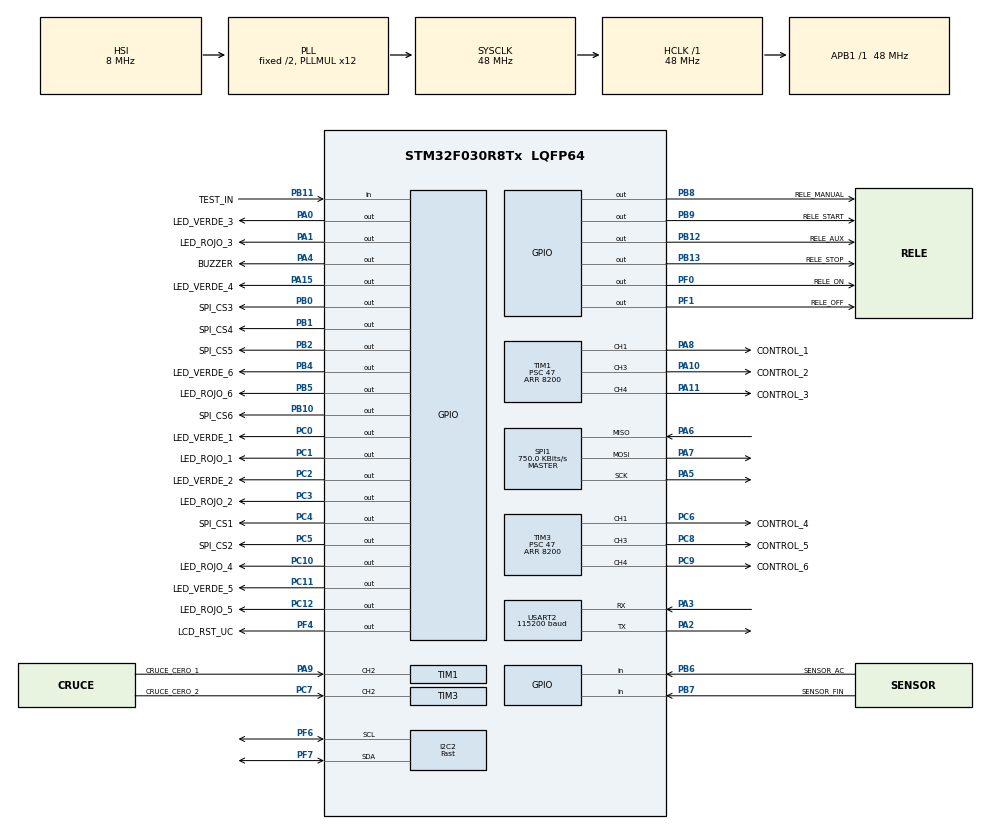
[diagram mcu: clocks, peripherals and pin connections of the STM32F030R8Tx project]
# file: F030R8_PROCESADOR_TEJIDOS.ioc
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I2C2.Analog_Filter=I2C_ANALOGFILTER_DISABLE
I2C2.I2C_Fall_Time=100
I2C2.I2C_Rise_Time=100
I2C2.I2C_Speed_Mode=I2C_Fast
I2C2.OwnAddress=104
I2C2.Timing=0x00901A4E
Mcu.Family=STM32F0
Mcu.Name=STM32F030R8Tx
Mcu.Package=LQFP64
NVIC.TIM17_IRQn=true\:0\:0\:false\:false\:true\:true\:true\:true
NVIC.TIM6_IRQn=true\:0\:0\:false\:false\:true\:true\:true\:true
NVIC.USART2_IRQn=true\:0\:0\:false\:false\:true\:true\:true\:true
PA0.GPIO_Label=LED_VERDE_3
PA0.Signal=GPIO_Output
PA1.GPIO_Label=LED_ROJO_3
PA1.Signal=GPIO_Output
PA10.GPIO_Label=CONTROL_2
PA10.Signal=S_TIM1_CH3
PA11.GPIO_Label=CONTROL_3
PA11.Signal=S_TIM1_CH4
PA13.Mode=Serial_Wire
PA13.Signal=SYS_SWDIO
PA14.Mode=Serial_Wire
PA14.Signal=SYS_SWCLK
PA15.GPIO_Label=LED_VERDE_4
PA15.Signal=GPIO_Output
PA2.Mode=Asynchronous
PA2.Signal=USART2_TX
PA3.Mode=Asynchronous
PA3.Signal=USART2_RX
PA4.GPIO_Label=BUZZER
PA4.Signal=GPIO_Output
PA5.Mode=Full_Duplex_Master
PA5.Signal=SPI1_SCK
PA6.Mode=Full_Duplex_Master
PA6.Signal=SPI1_MISO
PA7.Mode=Full_Duplex_Master
PA7.Signal=SPI1_MOSI
PA8.GPIO_Label=CONTROL_1
PA8.Signal=S_TIM1_CH1
PA9.GPIO_Label=CRUCE_CERO_1
PA9.Signal=S_TIM1_CH2
PB0.GPIO_Label=SPI_CS3
PB0.Signal=GPIO_Output
PB1.GPIO_Label=SPI_CS4
PB1.Signal=GPIO_Output
PB10.GPIO_Label=SPI_CS6
PB10.Signal=GPIO_Output
PB11.GPIO_Label=TEST_IN
PB11.Signal=GPIO_Input
PB12.GPIO_Label=RELE_AUX
PB12.Signal=GPIO_Output
PB13.GPIO_Label=RELE_STOP
PB13.Signal=GPIO_Output
PB2.GPIO_Label=SPI_CS5
PB2.Signal=GPIO_Output
PB4.GPIO_Label=LED_VERDE_6
PB4.Signal=GPIO_Output
PB5.GPIO_Label=LED_ROJO_6
PB5.Signal=GPIO_Output
PB6.GPIO_Label=SENSOR_AC
PB6.Signal=GPIO_Input
PB7.GPIO_Label=SENSOR_FIN
PB7.Signal=GPIO_Input
PB8.GPIO_Label=RELE_MANUAL
PB8.Signal=GPIO_Output
PB9.GPIO_Label=RELE_START
PB9.Signal=GPIO_Output
PC0.GPIO_Label=LED_VERDE_1
PC0.Signal=GPIO_Output
PC1.GPIO_Label=LED_ROJO_1
PC1.Signal=GPIO_Output
PC10.GPIO_Label=LED_ROJO_4
PC10.Signal=GPIO_Output
PC11.GPIO_Label=LED_VERDE_5
PC11.Signal=GPIO_Output
PC12.GPIO_Label=LED_ROJO_5
PC12.Signal=GPIO_Output
PC2.GPIO_Label=LED_VERDE_2
PC2.Signal=GPIO_Output
PC3.GPIO_Label=LED_ROJO_2
PC3.Signal=GPIO_Output
PC4.GPIO_Label=SPI_CS1
PC4.Signal=GPIO_Output
PC5.GPIO_Label=SPI_CS2
PC5.Signal=GPIO_Output
PC6.GPIO_Label=CONTROL_4
PC6.Signal=S_TIM3_CH1
PC7.GPIO_Label=CRUCE_CERO_2
PC7.Signal=S_TIM3_CH2
PC8.GPIO_Label=CONTROL_5
PC8.Signal=S_TIM3_CH3
PC9.GPIO_Label=CONTROL_6
PC9.Signal=S_TIM3_CH4
PF0-OSC_IN.GPIO_Label=RELE_ON
PF0-OSC_IN.Signal=GPIO_Output
PF1-OSC_OUT.GPIO_Label=RELE_OFF
PF1-OSC_OUT.Signal=GPIO_Output
PF4.GPIO_Label=LCD_RST_UC
PF4.Signal=GPIO_Output
PF6.GPIO_Pu=GPIO_NOPULL
PF6.Mode=I2C
PF6.Signal=I2C2_SCL
PF7.GPIO_Pu=GPIO_NOPULL
PF7.Mode=I2C
PF7.Signal=I2C2_SDA
ProjectManager.HeapSize=0x200
ProjectManager.StackSize=0x400
ProjectManager.TargetToolchain=STM32CubeIDE
RCC.AHBFreq_Value=48000000
RCC.APB1Freq_Value=48000000
RCC.APB1TimFreq_Value=48000000
RCC.HCLKFreq_Value=48000000
RCC.PLLMUL=RCC_PLL_MUL12
RCC.SYSCLKFreq_VALUE=48000000
RCC.SYSCLKSource=RCC_SYSCLKSOURCE_PLLCLK
SH.S_TIM1_CH1.0=TIM1_CH1,PWM Generation1 CH1
SH.S_TIM1_CH2.0=TIM1_CH2,TriggerSource_TI2FP2
SH.S_TIM1_CH3.0=TIM1_CH3,PWM Generation3 CH3
SH.S_TIM1_CH4.0=TIM1_CH4,PWM Generation4 CH4
SH.S_TIM3_CH1.0=TIM3_CH1,PWM Generation1 CH1
SH.S_TIM3_CH2.0=TIM3_CH2,TriggerSource_TI2FP2
SH.S_TIM3_CH3.0=TIM3_CH3,PWM Generation3 CH3
SH.S_TIM3_CH4.0=TIM3_CH4,PWM Generation4 CH4
SPI1.BaudRatePrescaler=SPI_BAUDRATEPRESCALER_64
SPI1.CLKPhase=SPI_PHASE_2EDGE
SPI1.CLKPolarity=SPI_POLARITY_HIGH
SPI1.CalculateBaudRate=750.0 KBits/s
SPI1.DataSize=SPI_DATASIZE_8BIT
SPI1.Direction=SPI_DIRECTION_2LINES
SPI1.Mode=SPI_MODE_MASTER
SPI1.VirtualType=VM_MASTER
TIM1.AutoReloadPreload=TIM_AUTORELOAD_PRELOAD_ENABLE
TIM1.Channel-PWM\ Generation1\ CH1=TIM_CHANNEL_1
TIM1.Channel-PWM\ Generation3\ CH3=TIM_CHANNEL_3
TIM1.Channel-PWM\ Generation4\ CH4=TIM_CHANNEL_4
TIM1.OCMode_PWM-PWM\ Generation1\ CH1=TIM_OCMODE_PWM2
TIM1.OCMode_PWM-PWM\ Generation3\ CH3=TIM_OCMODE_PWM2
TIM1.OCMode_PWM-PWM\ Generation4\ CH4=TIM_OCMODE_PWM2
TIM1.Period=8200
TIM1.Prescaler=47
TIM1.Pulse-PWM\ Generation1\ CH1=1
TIM1.Pulse-PWM\ Generation3\ CH3=1
TIM1.Pulse-PWM\ Generation4\ CH4=1
TIM17.Period=999
TIM17.Prescaler=47999
TIM3.AutoReloadPreload=TIM_AUTORELOAD_PRELOAD_ENABLE
TIM3.Channel-PWM\ Generation1\ CH1=TIM_CHANNEL_1
TIM3.Channel-PWM\ Generation3\ CH3=TIM_CHANNEL_3
TIM3.Channel-PWM\ Generation4\ CH4=TIM_CHANNEL_4
TIM3.OCMode_PWM-PWM\ Generation1\ CH1=TIM_OCMODE_PWM2
TIM3.OCMode_PWM-PWM\ Generation3\ CH3=TIM_OCMODE_PWM2
TIM3.OCMode_PWM-PWM\ Generation4\ CH4=TIM_OCMODE_PWM2
TIM3.Period=8200
TIM3.Prescaler=47
TIM3.Pulse-PWM\ Generation1\ CH1=1
TIM3.Pulse-PWM\ Generation3\ CH3=1
TIM3.Pulse-PWM\ Generation4\ CH4=1
TIM3.TIM_MasterSlaveMode=TIM_MASTERSLAVEMODE_DISABLE
TIM6.Period=59999
TIM6.Prescaler=47999
USART2.BaudRate=115200
USART2.VirtualMode-Asynchronous=VM_ASYNC
VP_RTC_VS_RTC_Activate.Mode=RTC_Enabled
VP_TIM17_VS_ClockSourceINT.Mode=Enable_Timer
VP_TIM1_VS_ClockSourceINT.Mode=Internal
VP_TIM1_VS_ControllerModeTrigger.Mode=Trigger Mode
VP_TIM1_VS_OPM.Mode=OPM_bit
VP_TIM3_VS_ClockSourceINT.Mode=Internal
VP_TIM3_VS_ControllerModeTrigger.Mode=Trigger Mode
VP_TIM3_VS_OPM.Mode=OPM_bit
VP_TIM6_VS_ClockSourceINT.Mode=Enable_Timer
board=F030R8_CENTRAL_INCLUSION_V0

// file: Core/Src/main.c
/* USER CODE BEGIN Header */
/**
  ******************************************************************************
  * @file           : main.c
  * @brief          : Main program body
  ******************************************************************************
  * @attention
  *
  * Copyright (c) 2024 STMicroelectronics.
  * All rights reserved.
  *
  * This software is licensed under terms that can be found in the LICENSE file
  * in the root directory of this software component.
  * If no LICENSE file comes with this software, it is provided AS-IS.
  *
  ******************************************************************************
  */
/* USER CODE END Header */
#include "main.h"
#include "i2c.h"
#include "rtc.h"
#include "spi.h"
#include "tim.h"
#include "usart.h"
#include "gpio.h"

/* USER CODE BEGIN Includes */
#include "string.h"
#include "stdlib.h"
#include "USR_NEXTION.h"
#include "USR_RTC.h"
#include "USR_FLASH.h"
#include "USR_TIM.h"
#include "USR_PROCESADOR.h"
#include "USR_TEMPERATURA.h"

/* USER CODE END Includes */

void SystemClock_Config(void);
/* USER CODE BEGIN PFP */
#if USR_TEST_TERMOCUPLAS == 1

uint8_t contador = 0;
uint8_t texto_temperatura[30];

#endif
/* USER CODE END PFP */

int main(void)
{

  /* MCU Configuration--------------------------------------------------------*/

  /* Reset of all peripherals, Initializes the Flash interface and the Systick. */
  HAL_Init();

  /* Configure the system clock */
  SystemClock_Config();

  /* Initialize all configured peripherals */
  MX_GPIO_Init();
  MX_USART2_UART_Init();
  MX_SPI1_Init();
  MX_TIM1_Init();
  MX_TIM3_Init();
  MX_I2C2_Init();
  MX_RTC_Init();
  MX_TIM6_Init();
  MX_TIM17_Init();
  /* USER CODE BEGIN 2 */

  //SE LEEN LAS MEMORIAS, SE VERIFICAN QUE ESTEN BIEN CONFIGURADAS Y SI NO, SE REINICIAN!!!
	USR_FLASH_Leer_Programa(1);
	if(USR_FLASH_Obtener_Dato_Trama(USR_PROCESADOR_POSICION_COMANDO) != USR_NEXTION_COMANDO_GUARDAR_PROGRAMA)
	{
	  USR_FLASH_Reiniciar_Programas();
	}

	USR_FLASH_Leer_Termocuplas();
	if(USR_FLASH_Obtener_Dato_Trama(USR_PROCESADOR_POSICION_COMANDO) != USR_NEXTION_COMANDO_GUARDAR_TERMOCUPLAS)
	{
	  USR_FLASH_Reiniciar_Termocuplas();
	}

	USR_FLASH_Leer_Estado_Actual();
	if(USR_FLASH_Obtener_Dato_Trama_Estado_Actual(USR_PROCESADOR_POSICION_COMANDO) != USR_NEXTION_COMANDO_GUARDAR_PROGRAMA)
	{
	  USR_FLASH_Reiniciar_Estado_Actual();
	}

	//Se inician los led apagados
	USR_TEMPERATURA_Cambio_Led(USR_TEMPERATURA_LED_1, USR_TEMPERATURA_ESTADO_LED_APAGADO);
	USR_TEMPERATURA_Cambio_Led(USR_TEMPERATURA_LED_2, USR_TEMPERATURA_ESTADO_LED_APAGADO);
	USR_TEMPERATURA_Cambio_Led(USR_TEMPERATURA_LED_3, USR_TEMPERATURA_ESTADO_LED_APAGADO);
	USR_TEMPERATURA_Cambio_Led(USR_TEMPERATURA_LED_4, USR_TEMPERATURA_ESTADO_LED_APAGADO);
	USR_TEMPERATURA_Cambio_Led(USR_TEMPERATURA_LED_5, USR_TEMPERATURA_ESTADO_LED_APAGADO);
	USR_TEMPERATURA_Cambio_Led(USR_TEMPERATURA_LED_6, USR_TEMPERATURA_ESTADO_LED_APAGADO);

	//Se apage el pin del buzzer
	USR_PROCESADOR_BUZZER_OFF();

	//Los pines de los reles inician activos...
	USR_PROCESADOR_RELE_START_ACTIVO();
	USR_PROCESADOR_RELE_MANUAL_ACTIVO();

	//Se inactiva la salida AC de la tarjeta...
	USR_PROCESADOR_ReleAC(USR_PROCESADOR_RELEAC_INACTIVO);

	//Se inician las termocuplas...
	#if USR_TEST_SIN_CONTROL == 0

	USR_TEMPERATURA_Iniciar_Chips();
	if(usr_temperatura_estado_alerta == USR_TEMPERATURA_ALERTA_ACTIVA)
	{
	  USR_NEXTION_Cambiar_Pantalla(USR_NEXTION_PANTALLA_ALERTA);
	}

	#endif

	//Se hace un retardo de 3 segundos para dejar que se encienda la pantalla
	HAL_Delay(3000);

	//Se revisa si hay un programa activo
	USR_FLASH_Leer_Estado_Actual();
	if((USR_FLASH_Obtener_Dato_Trama_Estado_Actual(USR_PROCESADOR_POSICION_ESTADO_ACTUAL) == USR_PROCESADOR_ESTADO_EJECUTANDO) || (USR_FLASH_Obtener_Dato_Trama_Estado_Actual(USR_PROCESADOR_POSICION_ESTADO_ACTUAL) == USR_PROCESADOR_ESTADO_ROTANDO))
	{
	  USR_PROCESADOR_Retomar_Programa_Actual();
	  //Se reinicia el periferico I2C porque se bloquea despues de retomar el programa
	  MX_I2C2_Init();

	}
	else
	{
	  USR_NEXTION_Enviar_Trama(usr_nextion_com_vison_b0, (uint16_t)strlen((const char *)usr_nextion_com_vison_b0));
	  //Se crea una trama de estado actual para evitar errores en los cambios de la misma
	  USR_FLASH_Iniciar_Trama_Estado_Actual();
	}
	HAL_Delay(50);

	USR_NEXTION_Iniciar_Recibir_Trama();
	//Se inicia el control de temperatura...
	USR_TEMPERATURA_Iniciar_Control();
	//Se inicia el conteo del minuto
	USR_TIM_Iniciar_Conteo_1minuto();

	USR_PROCESADOR_Buzzer();

  /* USER CODE END 2 */

  /* Infinite loop */
  while (1)
  {

    /* USER CODE BEGIN 3 */

#if USR_TEST_TERMOCUPLAS == 0

	//Rutina principal de maquina de estados...
	USR_NEXTION_Administrador();
	if(usr_procesador_estado_actual == USR_PROCESADOR_ESTADO_EJECUTANDO)
	{
		USR_PROCESADOR_Ejecutar_Programa();

	}
#if USR_TEST_SIN_CONTROL == 0
	if(usr_tim_estado_control_temperatura == USR_TIM_BANDERA_CONTROL_TEMPERATURA_CAMBIO)
	{
		USR_NEXTION_Inhabilitar_Touch_Pantalla();
		USR_TEMPERATURA_Control();
		if(usr_temperatura_estado_alerta == USR_TEMPERATURA_ALERTA_ACTIVA)
	    {
			USR_NEXTION_Cambiar_Pantalla(USR_NEXTION_PANTALLA_ALERTA);
		}
		USR_NEXTION_Verificar_Temperatura();
		USR_NEXTION_Habilitar_Touch_Pantalla();
	}
#endif

#endif

#if USR_TEST_TERMOCUPLAS == 1

	for(contador = 0; contador < USR_TEMPERATURA_CANTIDAD_TERMOCUPLAS; contador++)
	{
	  USR_TEMPERATURA_Leer_Temperatura(&arreglo_termocuplas[contador]);

	  if(arreglo_termocuplas[contador].estado_termocupla == USR_TEMPERATURA_ESTADO_TERMOCUPLA_OK)
	  {
		  sprintf((char *)texto_temperatura, "Temp. Termocupla %d: %d\n", arreglo_termocuplas[contador].numero_termocupla+1,arreglo_termocuplas[contador].temperatura_actual);
		  HAL_UART_Transmit(&huart2, texto_temperatura, strlen((char *)texto_temperatura), 50);
	  }
	  else if (arreglo_termocuplas[contador].estado_termocupla == USR_TEMPERATURA_ESTADO_TERMOCUPLA_ABIERTA)
	  {
		  sprintf((char *)texto_temperatura, "Termocupla %d abierta...\n", arreglo_termocuplas[contador].numero_termocupla+1);
		  HAL_UART_Transmit(&huart2, texto_temperatura, strlen((char *)texto_temperatura), 50);
	  }
	  else
	  {
		  sprintf((char *)texto_temperatura, "Termocupla %d en error...\n", arreglo_termocuplas[contador].numero_termocupla+1);
		  HAL_UART_Transmit(&huart2, texto_temperatura, strlen((char *)texto_temperatura), 50);
	  }

	}
	HAL_Delay(1000);
#endif

  }
  /* USER CODE END 3 */
}

void SystemClock_Config(void)
{
  RCC_OscInitTypeDef RCC_OscInitStruct = {0};
  RCC_ClkInitTypeDef RCC_ClkInitStruct = {0};
  RCC_PeriphCLKInitTypeDef PeriphClkInit = {0};

  /** Initializes the RCC Oscillators according to the specified parameters
  * in the RCC_OscInitTypeDef structure.
  */
  RCC_OscInitStruct.OscillatorType = RCC_OSCILLATORTYPE_HSI|RCC_OSCILLATORTYPE_LSI;
  RCC_OscInitStruct.HSIState = RCC_HSI_ON;
  RCC_OscInitStruct.HSICalibrationValue = RCC_HSICALIBRATION_DEFAULT;
  RCC_OscInitStruct.LSIState = RCC_LSI_ON;
  RCC_OscInitStruct.PLL.PLLState = RCC_PLL_ON;
  RCC_OscInitStruct.PLL.PLLSource = RCC_PLLSOURCE_HSI;
  RCC_OscInitStruct.PLL.PLLMUL = RCC_PLL_MUL12;
  RCC_OscInitStruct.PLL.PREDIV = RCC_PREDIV_DIV1;
  if (HAL_RCC_OscConfig(&RCC_OscInitStruct) != HAL_OK)
  {
    Error_Handler();
  }

  /** Initializes the CPU, AHB and APB buses clocks
  */
  RCC_ClkInitStruct.ClockType = RCC_CLOCKTYPE_HCLK|RCC_CLOCKTYPE_SYSCLK
                              |RCC_CLOCKTYPE_PCLK1;
  RCC_ClkInitStruct.SYSCLKSource = RCC_SYSCLKSOURCE_PLLCLK;
  RCC_ClkInitStruct.AHBCLKDivider = RCC_SYSCLK_DIV1;
  RCC_ClkInitStruct.APB1CLKDivider = RCC_HCLK_DIV1;

  if (HAL_RCC_ClockConfig(&RCC_ClkInitStruct, FLASH_LATENCY_1) != HAL_OK)
  {
    Error_Handler();
  }
  PeriphClkInit.PeriphClockSelection = RCC_PERIPHCLK_RTC;
  PeriphClkInit.RTCClockSelection = RCC_RTCCLKSOURCE_LSI;
  if (HAL_RCCEx_PeriphCLKConfig(&PeriphClkInit) != HAL_OK)
  {
    Error_Handler();
  }
}

void Error_Handler(void)
{
  /* USER CODE BEGIN Error_Handler_Debug */
  /* User can add his own implementation to report the HAL error return state */
  __disable_irq();
  while (1)
  {
	USR_TEMPERATURA_Cambio_Led(USR_TEMPERATURA_LED_6, USR_TEMPERATURA_ESTADO_LED_ROJO);
	HAL_Delay(250);
	USR_TEMPERATURA_Cambio_Led(USR_TEMPERATURA_LED_6, USR_TEMPERATURA_ESTADO_LED_APAGADO);
	HAL_Delay(250);
  }
  /* USER CODE END Error_Handler_Debug */
}
